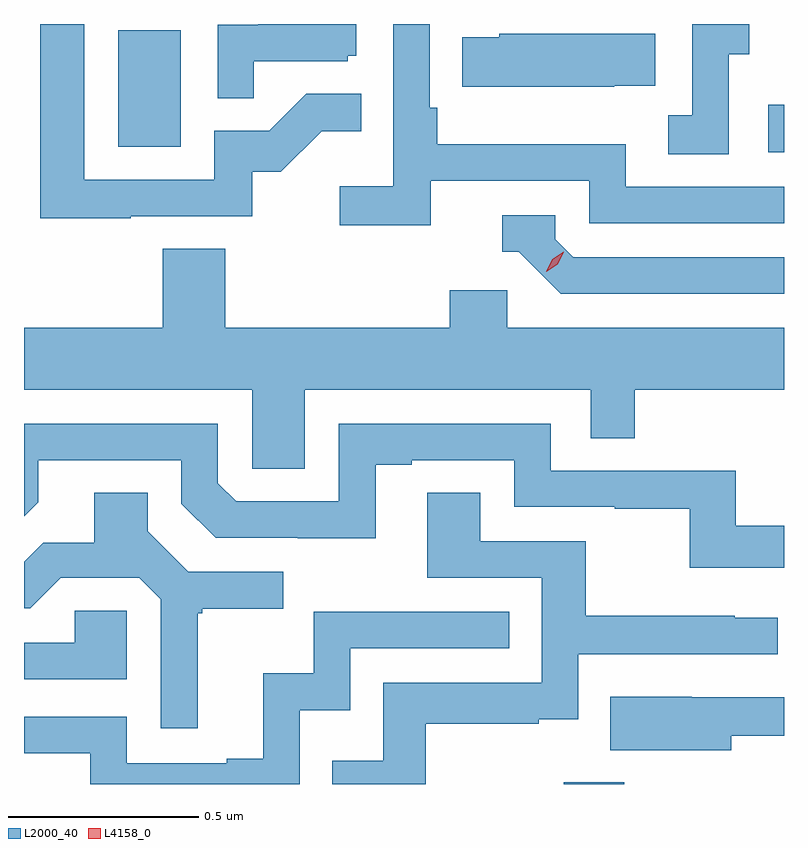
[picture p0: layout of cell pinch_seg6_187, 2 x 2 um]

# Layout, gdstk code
import gdstk
lib = gdstk.Library(unit=1e-6, precision=1e-09)
def R(c, l, rs):  # rectangles x0, y0, x1, y1
    for r in rs: c.add(gdstk.rectangle(r[:2], r[2:], *l))
def P(c, l, *ps):  # polygons
    for p in ps: c.add(gdstk.Polygon(p, *l))
L2000_40 = (2000, 40)
L4158_0 = (4158, 0)

pinch_seg6_187 = lib.new_cell('pinch_seg6_187')
R(pinch_seg6_187, L2000_40, [(1057.822,923.655,1057.982,923.659), (1058.361,925.317,1058.402,925.442), (1056.65,925.332,1056.814,925.639)])
P(pinch_seg6_187, L2000_40, [(1056.683,925.149),(1057.002,925.149),(1057.002,925.266),(1057.078,925.266),(1057.185,925.373),(1057.289,925.373),(1057.289,925.472),(1057.145,925.472),(1057.047,925.374),(1056.903,925.374),(1056.903,925.245),(1056.561,925.245),(1056.561,925.655),(1056.445,925.655),(1056.445,925.144),(1056.683,925.144)],
  [(1058.256,925.576),(1058.311,925.576),(1058.311,925.655),(1058.16,925.655),(1058.16,925.415),(1058.097,925.415),(1058.097,925.312),(1058.256,925.312)],
  [(1057.472,925.242),(1057.89,925.242),(1057.89,925.131),(1058.402,925.131),(1058.402,925.227),(1057.986,925.227),(1057.986,925.339),(1057.49,925.339),(1057.49,925.435),(1057.47,925.435),(1057.47,925.655),(1057.374,925.655),(1057.374,925.228),(1057.233,925.228),(1057.233,925.126),(1057.472,925.126)],
  [(1057.007,925.557),(1057.254,925.557),(1057.254,925.572),(1057.276,925.572),(1057.276,925.655),(1057.019,925.655),(1057.019,925.653),(1056.912,925.653),(1056.912,925.459),(1057.007,925.459)],
  [(1057.955,925.493),(1058.063,925.493),(1058.063,925.63),(1057.653,925.63),(1057.653,925.62),(1057.555,925.62),(1057.555,925.49),(1057.955,925.49)],
  [(1058.402,925.041),(1057.848,925.041),(1057.8,925.089),(1057.8,925.152),(1057.661,925.152),(1057.661,925.056),(1057.704,925.056),(1057.815,924.945),(1058.402,924.945)],
  [(1057.141,924.692),(1057.893,924.692),(1057.893,924.565),(1058.009,924.565),(1058.009,924.692),(1058.402,924.692),(1058.402,924.856),(1057.674,924.856),(1057.674,924.954),(1057.523,924.954),(1057.523,924.856),(1056.932,924.856),(1056.932,925.064),(1056.767,925.064),(1056.767,924.856),(1056.402,924.856),(1056.402,924.692),(1057.002,924.692),(1057.002,924.484),(1057.141,924.484)],
  [(1058.402,924.334),(1058.275,924.334),(1058.275,924.48),(1057.788,924.48),(1057.788,924.603),(1057.23,924.603),(1057.23,924.399),(1056.96,924.399),(1056.912,924.447),(1056.912,924.603),(1056.402,924.603),(1056.402,924.36),(1056.439,924.397),(1056.439,924.507),(1056.816,924.507),(1056.816,924.393),(1056.906,924.303),(1057.122,924.303),(1057.122,924.302),(1057.327,924.302),(1057.327,924.495),(1057.423,924.495),(1057.423,924.507),(1057.692,924.507),(1057.692,924.384),(1057.957,924.384),(1057.957,924.379),(1058.154,924.379),(1058.154,924.224),(1058.402,924.224)],
  [(1057.459,923.814),(1057.757,923.814),(1057.757,923.825),(1057.86,923.825),(1057.86,923.997),(1058.386,923.997),(1058.386,924.093),(1058.273,924.093),(1058.273,924.098),(1057.88,924.098),(1057.88,924.294),(1057.603,924.294),(1057.603,924.422),(1057.463,924.422),(1057.463,924.198),(1057.764,924.198),(1057.764,923.922),(1057.348,923.922),(1057.348,923.716),(1057.213,923.716),(1057.213,923.655),(1057.459,923.655)],
  [(1056.859,924.105),(1056.871,924.105),(1056.871,924.116),(1057.084,924.116),(1057.084,924.213),(1056.834,924.213),(1056.727,924.32),(1056.727,924.422),(1056.587,924.422),(1056.587,924.29),(1056.452,924.29),(1056.402,924.24),(1056.402,924.117),(1056.418,924.117),(1056.499,924.198),(1056.705,924.198),(1056.762,924.141),(1056.762,923.802),(1056.859,923.802)],
  [(1056.672,924.111),(1056.535,924.111),(1056.535,924.027),(1056.402,924.027),(1056.402,923.931),(1056.672,923.931)],
  [(1057.128,923.849),(1057.26,923.849),(1057.26,924.012),(1057.679,924.012),(1057.679,924.108),(1057.164,924.108),(1057.164,923.947),(1057.031,923.947),(1057.031,923.722),(1056.935,923.722),(1056.935,923.709),(1056.672,923.709),(1056.672,923.832),(1056.402,923.832),(1056.402,923.736),(1056.576,923.736),(1056.576,923.655),(1057.128,923.655)],
  [(1058.263,923.782),(1058.402,923.782),(1058.402,923.883),(1058.159,923.883),(1058.159,923.884),(1057.945,923.884),(1057.945,923.744),(1058.263,923.744)])
P(pinch_seg6_187, L4158_0, [(1057.776,925.003),(1057.776,925.004),(1057.792,925.036),(1057.823,925.056),(1057.823,925.056),(1057.823,925.056),(1057.807,925.023),(1057.776,925.003)])

lib.write_gds('pinch_seg6_187.gds')
